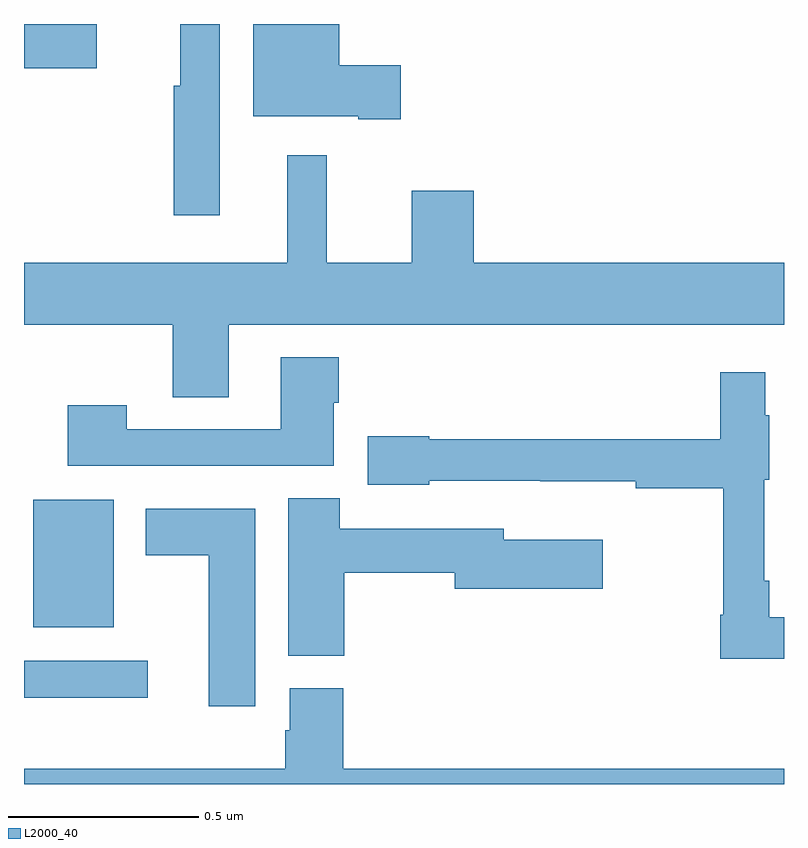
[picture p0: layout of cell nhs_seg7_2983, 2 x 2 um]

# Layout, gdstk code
import gdstk
lib = gdstk.Library(unit=1e-6, precision=1e-09)
def R(c, l, rs):  # rectangles x0, y0, x1, y1
    for r in rs: c.add(gdstk.rectangle(r[:2], r[2:], *l))
def P(c, l, *ps):  # polygons
    for p in ps: c.add(gdstk.Polygon(p, *l))
L2000_40 = (2000, 40)

nhs_seg7_2983 = lib.new_cell('nhs_seg7_2983')
R(nhs_seg7_2983, L2000_40, [(152,1074.227,152.326,1074.324), (152.024,1074.413,152.236,1074.748), (152,1075.883,152.191,1076)])
P(nhs_seg7_2983, L2000_40, [(152.515,1076),(152.411,1076),(152.411,1075.838),(152.394,1075.838),(152.394,1075.497),(152.515,1075.497)],
  [(152.992,1075.892),(152.83,1075.892),(152.83,1076),(152.603,1076),(152.603,1075.757),(152.879,1075.757),(152.879,1075.75),(152.992,1075.75)],
  [(152.539,1075.208),(154,1075.208),(154,1075.372),(153.184,1075.372),(153.184,1075.561),(153.02,1075.561),(153.02,1075.372),(152.797,1075.372),(152.797,1075.654),(152.693,1075.654),(152.693,1075.372),(152,1075.372),(152,1075.208),(152.392,1075.208),(152.392,1075.018),(152.539,1075.018)],
  [(152.815,1075.003),(152.828,1075.003),(152.828,1075.123),(152.675,1075.123),(152.675,1074.933),(152.271,1074.933),(152.271,1074.997),(152.115,1074.997),(152.115,1074.837),(152.815,1074.837)],
  [(154,1074.439),(153.961,1074.439),(153.961,1074.535),(153.948,1074.535),(153.948,1074.801),(153.961,1074.801),(153.961,1074.971),(153.95,1074.971),(153.95,1075.084),(153.832,1075.084),(153.832,1074.907),(153.066,1074.907),(153.066,1074.915),(152.904,1074.915),(152.904,1074.788),(153.066,1074.788),(153.066,1074.798),(153.358,1074.798),(153.358,1074.797),(153.61,1074.797),(153.61,1074.778),(153.84,1074.778),(153.84,1074.445),(153.832,1074.445),(153.832,1074.33),(154,1074.33)],
  [(152.843,1074.556),(153.134,1074.556),(153.134,1074.514),(153.523,1074.514),(153.523,1074.643),(153.262,1074.643),(153.262,1074.672),(152.831,1074.672),(152.831,1074.752),(152.696,1074.752),(152.696,1074.337),(152.843,1074.337)],
  [(152.608,1074.724),(152.321,1074.724),(152.321,1074.602),(152.486,1074.602),(152.486,1074.204),(152.608,1074.204)],
  [(154,1074.04),(152.84,1074.04),(152.84,1074.252),(152.699,1074.252),(152.699,1074.141),(152.687,1074.141),(152.687,1074.04),(152,1074.04),(152,1074),(154,1074)])

lib.write_gds('nhs_seg7_2983.gds')
